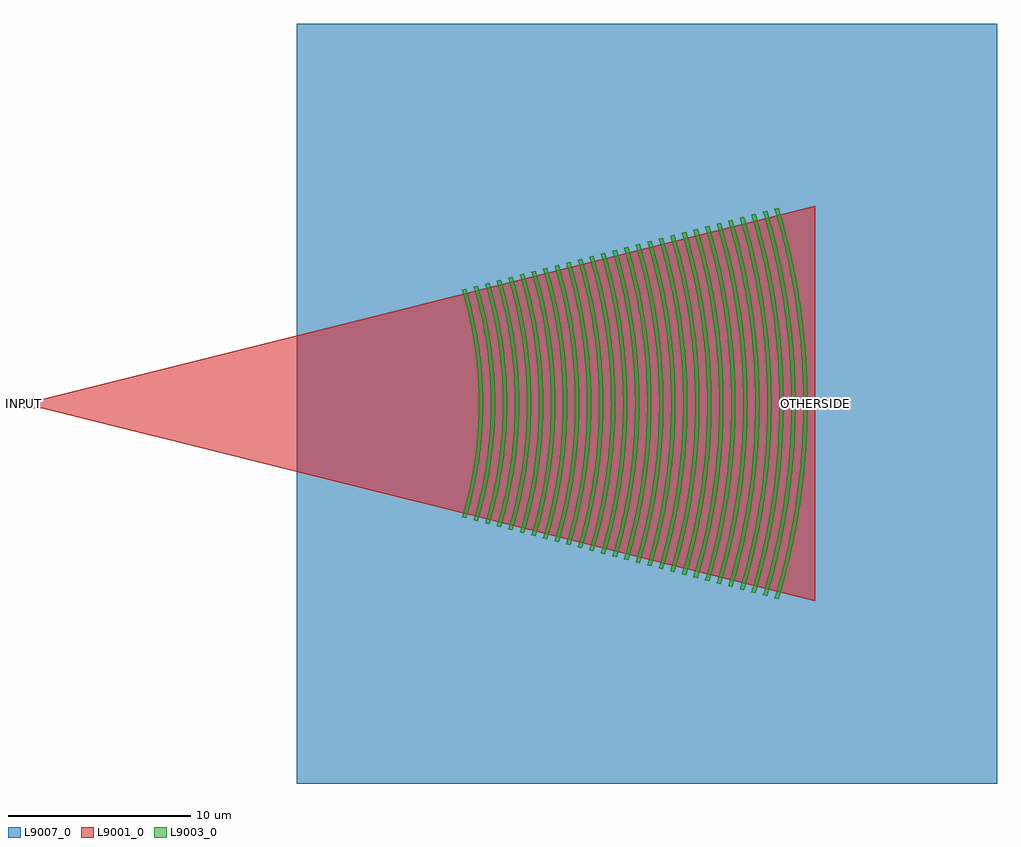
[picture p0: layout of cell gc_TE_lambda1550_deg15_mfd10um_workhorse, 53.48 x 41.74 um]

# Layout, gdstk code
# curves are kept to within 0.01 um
import gdstk
lib = gdstk.Library(unit=1e-6, precision=1e-09)
def R(c, l, rs):  # rectangles x0, y0, x1, y1
    for r in rs: c.add(gdstk.rectangle(r[:2], r[2:], *l))
def P(c, l, *ps):  # polygons
    for p in ps: c.add(gdstk.Polygon(p, *l))
L9001_0 = (9001, 0)
L9003_0 = (9003, 0)
L9007_0 = (9007, 0)

gc_te_lambda1550_deg15_m = lib.new_cell('gc_TE_lambda1550_deg15_mfd10um_workhorse')
R(gc_te_lambda1550_deg15_m, L9001_0, [(0,-0.25,24,0.25)])
P(gc_te_lambda1550_deg15_m, L9001_0, [(43.48,-10.87),(0,0),(43.48,10.87)])
P(gc_te_lambda1550_deg15_m, L9003_0, [(24.303,-6.309),(24.074,-6.25),(24.289,-5.492),(24.474,-4.735),(24.63,-3.977),(24.777,-3.093),(24.873,-2.336),(24.951,-1.452),(24.989,-0.694),(25,0.063),(25.238,0.063),(25.222,-0.829),(25.179,-1.593),(25.123,-2.231),(25.012,-3.123),(24.888,-3.888),(24.706,-4.78),(24.52,-5.545)],
  [(25,0.063),(24.989,0.694),(24.942,1.578),(24.859,2.462),(24.758,3.22),(24.63,3.977),(24.474,4.735),(24.289,5.492),(24.074,6.25),(24.303,6.309),(24.553,5.417),(24.789,4.397),(24.974,3.378),(25.095,2.486),(25.204,1.211),(25.238,0.063)],
  [(24.939,-6.474),(24.71,-6.415),(24.93,-5.637),(25.12,-4.86),(25.28,-4.082),(25.412,-3.305),(25.53,-2.398),(25.601,-1.62),(25.649,-0.713),(25.66,0.065),(25.898,0.065),(25.886,-0.719),(25.838,-1.635),(25.766,-2.42),(25.647,-3.335),(25.514,-4.12),(25.352,-4.905),(25.161,-5.69)],
  [(25.66,0.065),(25.649,0.713),(25.601,1.62),(25.53,2.398),(25.412,3.305),(25.28,4.082),(25.12,4.86),(24.93,5.637),(24.71,6.415),(24.939,6.474),(25.228,5.428),(25.464,4.382),(25.627,3.466),(25.766,2.42),(25.863,1.243),(25.898,0.065)],
  [(25.574,-6.639),(25.345,-6.58),(25.536,-5.915),(25.766,-4.985),(25.955,-4.054),(26.085,-3.257),(26.186,-2.459),(26.259,-1.662),(26.304,-0.864),(26.32,0.066),(26.558,0.066),(26.546,-0.738),(26.506,-1.542),(26.423,-2.481),(26.321,-3.286),(26.189,-4.091),(26.028,-4.896),(25.802,-5.835)],
  [(26.32,0.066),(26.304,0.864),(26.259,1.662),(26.186,2.459),(26.085,3.257),(25.955,4.054),(25.766,4.985),(25.536,5.915),(25.345,6.58),(25.574,6.639),(25.837,5.7),(26.085,4.627),(26.259,3.689),(26.408,2.616),(26.522,1.274),(26.558,0.066)],
  [(26.21,-6.804),(25.981,-6.745),(26.248,-5.791),(26.412,-5.11),(26.581,-4.292),(26.719,-3.475),(26.828,-2.657),(26.918,-1.703),(26.968,-0.749),(26.98,0.068),(27.217,0.068),(27.201,-0.894),(27.155,-1.718),(27.094,-2.406),(26.975,-3.368),(26.815,-4.33),(26.645,-5.155),(26.407,-6.117)],
  [(26.98,0.068),(26.958,1.022),(26.918,1.703),(26.828,2.657),(26.719,3.475),(26.581,4.292),(26.412,5.11),(26.248,5.791),(25.981,6.745),(26.21,6.804),(26.479,5.842),(26.705,4.88),(26.911,3.78),(27.064,2.681),(27.173,1.443),(27.201,0.894),(27.217,0.068)],
  [(26.845,-6.969),(26.617,-6.91),(26.854,-6.072),(27.058,-5.235),(27.231,-4.397),(27.373,-3.56),(27.5,-2.583),(27.576,-1.745),(27.628,-0.768),(27.64,0.07),(27.877,0.07),(27.865,-0.774),(27.823,-1.619),(27.751,-2.464),(27.629,-3.45),(27.465,-4.435),(27.291,-5.28),(27.084,-6.125)],
  [(27.64,0.07),(27.623,0.907),(27.576,1.745),(27.5,2.583),(27.373,3.56),(27.231,4.397),(27.058,5.235),(26.854,6.072),(26.617,6.91),(26.845,6.969),(27.157,5.843),(27.382,4.857),(27.564,3.872),(27.704,2.886),(27.791,2.042),(27.832,1.478),(27.865,0.774),(27.877,0.07)],
  [(27.481,-7.134),(27.252,-7.075),(27.495,-6.217),(27.736,-5.217),(27.933,-4.216),(28.068,-3.359),(28.186,-2.358),(28.245,-1.644),(28.292,-0.643),(28.3,0.071),(28.537,0.071),(28.525,-0.793),(28.472,-1.802),(28.377,-2.811),(28.262,-3.675),(28.088,-4.684),(27.937,-5.405),(27.726,-6.27)],
  [(28.3,0.071),(28.282,0.929),(28.224,1.93),(28.14,2.787),(28.026,3.645),(27.854,4.645),(27.672,5.503),(27.457,6.36),(27.252,7.075),(27.481,7.134),(27.726,6.27),(28,5.117),(28.216,3.964),(28.377,2.811),(28.491,1.513),(28.525,0.793),(28.537,0.071)],
  [(28.116,-7.299),(27.888,-7.24),(28.136,-6.362),(28.383,-5.339),(28.558,-4.461),(28.702,-3.583),(28.813,-2.706),(28.893,-1.828),(28.942,-0.951),(28.96,0.073),(29.197,0.073),(29.185,-0.811),(29.13,-1.843),(29.033,-2.876),(28.937,-3.613),(28.793,-4.498),(28.616,-5.382),(28.367,-6.415)],
  [(28.96,0.073),(28.942,0.951),(28.893,1.828),(28.813,2.706),(28.702,3.583),(28.558,4.461),(28.383,5.339),(28.136,6.362),(27.888,7.24),(28.116,7.299),(28.443,6.12),(28.678,5.087),(28.869,4.055),(29.033,2.876),(29.107,2.138),(29.159,1.401),(29.197,0.073)],
  [(28.752,-7.464),(28.523,-7.405),(28.816,-6.358),(29.03,-5.46),(29.182,-4.712),(29.356,-3.665),(29.47,-2.768),(29.562,-1.72),(29.607,-0.823),(29.62,0.075),(29.857,0.075),(29.849,-0.679),(29.799,-1.734),(29.706,-2.79),(29.591,-3.695),(29.416,-4.75),(29.229,-5.655),(29.008,-6.56)],
  [(29.62,0.075),(29.595,1.122),(29.54,2.02),(29.47,2.768),(29.356,3.665),(29.182,4.712),(29.03,5.46),(28.816,6.358),(28.523,7.405),(28.752,7.464),(29.086,6.258),(29.295,5.353),(29.546,3.996),(29.689,2.941),(29.765,2.187),(29.818,1.433),(29.857,0.075)],
  [(29.388,-7.629),(29.159,-7.57),(29.378,-6.805),(29.608,-5.888),(29.832,-4.817),(30.01,-3.747),(30.126,-2.829),(30.221,-1.759),(30.271,-0.688),(30.28,0.076),(30.517,0.076),(30.504,-0.848),(30.458,-1.772),(30.363,-2.851),(30.245,-3.776),(30.066,-4.855),(29.875,-5.78),(29.649,-6.705)],
  [(30.28,0.076),(30.261,0.994),(30.21,1.912),(30.126,2.829),(30.01,3.747),(29.832,4.817),(29.608,5.888),(29.378,6.805),(29.159,7.57),(29.388,7.629),(29.689,6.55),(29.975,5.317),(30.174,4.239),(30.327,3.16),(30.409,2.389),(30.468,1.618),(30.504,0.848),(30.517,0.076)],
  [(30.023,-7.794),(29.794,-7.735),(30.06,-6.797),(30.289,-5.86),(30.482,-4.922),(30.641,-3.985),(30.783,-2.891),(30.868,-1.953),(30.921,-1.016),(30.94,0.078),(31.177,0.078),(31.164,-0.866),(31.117,-1.811),(31.002,-3.071),(30.876,-4.015),(30.716,-4.96),(30.521,-5.905),(30.249,-7.007)],
  [(30.94,0.078),(30.921,1.016),(30.856,2.11),(30.783,2.891),(30.641,3.985),(30.482,4.922),(30.289,5.86),(30.06,6.797),(29.794,7.735),(30.023,7.794),(30.371,6.535),(30.623,5.432),(30.827,4.33),(31.002,3.071),(31.127,1.653),(31.164,0.866),(31.177,0.078)],
  [(30.659,-7.959),(30.43,-7.9),(30.701,-6.942),(30.935,-5.985),(31.162,-4.868),(31.318,-3.91),(31.44,-2.953),(31.527,-1.995),(31.586,-0.878),(31.6,0.08),(31.837,0.08),(31.818,-1.045),(31.764,-2.01),(31.658,-3.136),(31.53,-4.1),(31.336,-5.226),(31.131,-6.191),(30.932,-6.995)],
  [(31.6,0.08),(31.574,1.197),(31.527,1.995),(31.44,2.953),(31.318,3.91),(31.162,4.868),(30.935,5.985),(30.701,6.942),(30.43,7.9),(30.659,7.959),(30.974,6.834),(31.238,5.708),(31.479,4.422),(31.639,3.296),(31.724,2.492),(31.786,1.688),(31.818,1.045),(31.837,0.08)],
  [(31.294,-8.124),(31.065,-8.065),(31.299,-7.25),(31.581,-6.11),(31.813,-4.969),(31.972,-3.992),(32.096,-3.014),(32.197,-1.874),(32.246,-0.896),(32.26,0.081),(32.497,0.081),(32.483,-0.903),(32.434,-1.887),(32.333,-3.036),(32.208,-4.021),(32.047,-5.006),(31.85,-5.991),(31.573,-7.14)],
  [(32.26,0.081),(32.24,1.059),(32.173,2.2),(32.078,3.177),(31.948,4.155),(31.813,4.969),(31.581,6.11),(31.299,7.25),(31.065,8.065),(31.294,8.124),(31.616,6.975),(31.92,5.662),(32.132,4.514),(32.295,3.365),(32.382,2.544),(32.445,1.723),(32.483,0.903),(32.497,0.081)],
  [(31.93,-8.289),(31.701,-8.23),(32.027,-7.066),(32.227,-6.235),(32.433,-5.237),(32.602,-4.24),(32.753,-3.076),(32.844,-2.078),(32.905,-0.914),(32.92,0.083),(33.157,0.083),(33.143,-0.921),(33.093,-1.926),(33.007,-2.931),(32.862,-4.103),(32.698,-5.108),(32.497,-6.112),(32.258,-7.117)],
  [(32.92,0.083),(32.893,1.247),(32.844,2.078),(32.753,3.076),(32.602,4.24),(32.433,5.237),(32.227,6.235),(32.027,7.066),(31.701,8.23),(31.93,8.289),(32.258,7.117),(32.533,5.945),(32.784,4.605),(32.951,3.433),(33.04,2.596),(33.093,1.926),(33.143,0.921),(33.157,0.083)],
  [(32.565,-8.454),(32.337,-8.395),(32.669,-7.208),(32.911,-6.19),(33.114,-5.173),(33.28,-4.155),(33.409,-3.138),(33.502,-2.12),(33.565,-0.933),(33.58,0.085),(33.817,0.085),(33.796,-1.11),(33.739,-2.135),(33.646,-3.16),(33.516,-4.185),(33.349,-5.209),(33.106,-6.405),(32.855,-7.43)],
  [(33.58,0.085),(33.552,1.272),(33.489,2.29),(33.39,3.307),(33.255,4.325),(33.083,5.342),(32.873,6.36),(32.625,7.377),(32.337,8.395),(32.565,8.454),(32.9,7.259),(33.216,5.892),(33.437,4.697),(33.607,3.501),(33.697,2.647),(33.762,1.793),(33.802,0.939),(33.817,0.085)],
  [(33.201,-8.619),(32.972,-8.56),(33.22,-7.695),(33.48,-6.658),(33.7,-5.62),(33.909,-4.41),(34.047,-3.372),(34.161,-2.162),(34.219,-1.124),(34.24,0.086),(34.477,0.086),(34.456,-1.132),(34.398,-2.177),(34.303,-3.221),(34.17,-4.266),(33.967,-5.485),(33.752,-6.53),(33.497,-7.575)],
  [(34.24,0.086),(34.219,1.124),(34.148,2.335),(34.047,3.372),(33.909,4.41),(33.7,5.62),(33.48,6.658),(33.22,7.695),(32.972,8.56),(33.201,8.619),(33.497,7.575),(33.828,6.182),(34.06,4.963),(34.241,3.744),(34.355,2.699),(34.41,2.002),(34.456,1.132),(34.477,0.086)],
  [(33.837,-8.784),(33.608,-8.725),(33.907,-7.667),(34.165,-6.61),(34.416,-5.376),(34.589,-4.318),(34.723,-3.261),(34.832,-2.027),(34.89,-0.793),(34.9,0.088),(35.137,0.088),(35.122,-0.976),(35.069,-2.041),(34.978,-3.106),(34.824,-4.348),(34.65,-5.413),(34.398,-6.655),(34.138,-7.72)],
  [(34.9,0.088),(34.878,1.146),(34.832,2.027),(34.723,3.261),(34.589,4.318),(34.416,5.376),(34.165,6.61),(33.907,7.667),(33.608,8.725),(33.837,8.784),(34.229,7.365),(34.513,6.122),(34.742,4.88),(34.918,3.638),(35.028,2.573),(35.091,1.686),(35.122,0.976),(35.137,0.088)],
  [(34.472,-8.949),(34.243,-8.89),(34.548,-7.812),(34.811,-6.735),(35.034,-5.657),(35.243,-4.4),(35.379,-3.323),(35.478,-2.245),(35.538,-1.167),(35.56,0.09),(35.797,0.09),(35.782,-0.994),(35.715,-2.26),(35.616,-3.345),(35.478,-4.43),(35.268,-5.695),(35.044,-6.78),(34.779,-7.865)],
  [(35.56,0.09),(35.538,1.167),(35.478,2.245),(35.379,3.323),(35.243,4.4),(35.034,5.657),(34.811,6.735),(34.548,7.812),(34.243,8.89),(34.472,8.949),(34.826,7.684),(35.123,6.418),(35.395,4.972),(35.552,3.887),(35.653,2.983),(35.739,1.898),(35.782,0.994),(35.797,0.09)],
  [(35.108,-9.114),(34.879,-9.055),(35.141,-8.14),(35.373,-7.226),(35.576,-6.311),(35.782,-5.213),(35.948,-4.116),(36.107,-2.652),(36.19,-1.372),(36.22,0.091),(36.457,0.091),(36.435,-1.197),(36.373,-2.302),(36.252,-3.591),(36.132,-4.511),(35.952,-5.616),(35.731,-6.721),(35.42,-8.01)],
  [(36.22,0.091),(36.19,1.372),(36.122,2.47),(36.016,3.567),(35.87,4.665),(35.684,5.762),(35.416,7.043),(35.141,8.14),(34.879,9.055),(35.108,9.114),(35.468,7.825),(35.771,6.537),(36.047,5.064),(36.23,3.775),(36.328,2.854),(36.398,1.933),(36.447,0.829),(36.457,0.091)],
  [(35.743,-9.279),(35.514,-9.22),(35.781,-8.289),(36.017,-7.357),(36.224,-6.426),(36.402,-5.495),(36.603,-4.191),(36.765,-2.701),(36.857,-1.211),(36.88,0.093),(37.117,0.093),(37.101,-1.031),(37.032,-2.343),(36.908,-3.656),(36.759,-4.78),(36.568,-5.905),(36.336,-7.03),(36.061,-8.155)],
  [(36.88,0.093),(36.857,1.211),(36.795,2.328),(36.693,3.446),(36.551,4.563),(36.402,5.495),(36.145,6.799),(35.831,8.102),(35.514,9.22),(35.743,9.279),(36.11,7.967),(36.418,6.655),(36.669,5.343),(36.863,4.03),(36.968,3.093),(37.045,2.156),(37.101,1.031),(37.117,0.094)],
  [(36.379,-9.444),(36.15,-9.385),(36.37,-8.627),(36.662,-7.489),(36.911,-6.351),(37.086,-5.403),(37.306,-3.887),(37.439,-2.56),(37.517,-1.232),(37.54,0.095),(37.777,0.095),(37.761,-1.049),(37.704,-2.194),(37.606,-3.339),(37.468,-4.484),(37.254,-5.819),(37.025,-6.964),(36.703,-8.3)],
  [(37.54,0.095),(37.517,1.232),(37.479,1.991),(37.406,2.939),(37.306,3.887),(37.086,5.403),(36.833,6.731),(36.521,8.058),(36.15,9.385),(36.379,9.444),(36.703,8.3),(37.066,6.773),(37.321,5.438),(37.542,3.911),(37.643,2.957),(37.716,2.003),(37.761,1.049),(37.777,0.095)],
  [(37.014,-9.609),(36.786,-9.55),(37.212,-8.007),(37.521,-6.656),(37.77,-5.306),(37.962,-3.955),(38.064,-2.99),(38.138,-2.026),(38.189,-0.868),(38.2,0.096),(38.437,0.096),(38.414,-1.262),(38.349,-2.427),(38.221,-3.786),(38.095,-4.756),(37.869,-6.115),(37.628,-7.28),(37.344,-8.445)],
  [(38.2,0.096),(38.183,1.061),(38.138,2.026),(38.046,3.183),(37.938,4.148),(37.738,5.498),(37.48,6.849),(37.163,8.199),(36.786,9.55),(37.014,9.609),(37.344,8.445),(37.713,6.892),(37.973,5.533),(38.174,4.174),(38.263,3.397),(38.349,2.427),(38.414,1.262),(38.436,0.291),(38.437,0.096)],
  [(37.65,-9.774),(37.421,-9.715),(37.702,-8.734),(37.951,-7.752),(38.209,-6.575),(38.39,-5.593),(38.593,-4.22),(38.739,-2.846),(38.828,-1.472),(38.86,0.098),(39.097,0.098),(39.08,-1.086),(39.021,-2.271),(38.92,-3.456),(38.749,-4.838),(38.519,-6.22),(38.274,-7.405),(37.985,-8.59)],
  [(38.86,0.098),(38.843,1.079),(38.797,2.061),(38.722,3.042),(38.618,4.023),(38.39,5.593),(38.128,6.967),(37.805,8.341),(37.421,9.715),(37.65,9.774),(38.037,8.392),(38.361,7.01),(38.625,5.628),(38.854,4.048),(38.958,3.061),(39.034,2.073),(39.08,1.086),(39.097,0.099)],
  [(38.285,-9.939),(38.057,-9.88),(38.396,-8.682),(38.596,-7.884),(38.775,-7.086),(39.042,-5.688),(39.249,-4.291),(39.36,-3.293),(39.443,-2.295),(39.502,-1.098),(39.52,0.1),(39.757,0.1),(39.733,-1.305),(39.666,-2.51),(39.556,-3.715),(39.403,-4.92),(39.206,-6.124),(38.965,-7.329),(38.679,-8.534)],
  [(39.52,0.1),(39.502,1.098),(39.443,2.295),(39.36,3.293),(39.249,4.291),(39.042,5.688),(38.775,7.086),(38.596,7.884),(38.396,8.682),(38.057,9.88),(38.285,9.939),(38.679,8.534),(39.008,7.128),(39.277,5.723),(39.485,4.317),(39.597,3.313),(39.68,2.309),(39.733,1.305),(39.756,0.301),(39.757,0.1)],
  [(38.921,-10.104),(38.692,-10.045),(38.983,-9.03),(39.288,-7.813),(39.507,-6.798),(39.694,-5.783),(39.904,-4.363),(40.072,-2.74),(40.155,-1.319),(40.18,0.101),(40.417,0.101),(40.4,-1.123),(40.324,-2.552),(40.19,-3.981),(40.057,-5.001),(39.857,-6.226),(39.567,-7.655),(39.268,-8.88)],
  [(40.18,0.101),(40.155,1.319),(40.101,2.334),(40.018,3.348),(39.904,4.363),(39.694,5.783),(39.423,7.204),(39.09,8.624),(38.692,10.045),(38.921,10.104),(39.321,8.675),(39.656,7.247),(39.929,5.818),(40.14,4.389),(40.274,3.164),(40.352,2.143),(40.4,1.123),(40.416,0.306),(40.417,0.101)],
  [(39.557,-10.269),(39.328,-10.21),(39.623,-9.179),(39.885,-8.147),(40.114,-7.116),(40.346,-5.878),(40.56,-4.435),(40.713,-2.991),(40.806,-1.547),(40.84,0.103),(41.077,0.103),(41.052,-1.349),(40.983,-2.593),(40.869,-3.838),(40.711,-5.083),(40.47,-6.535),(40.213,-7.78),(39.909,-9.025)],
  [(40.84,0.103),(40.822,1.134),(40.76,2.372),(40.695,3.197),(40.56,4.435),(40.346,5.878),(40.026,7.529),(39.732,8.766),(39.328,10.21),(39.557,10.269),(39.909,9.025),(40.259,7.572),(40.581,5.913),(40.796,4.46),(40.912,3.423),(40.983,2.593),(41.034,1.763),(41.074,0.519),(41.077,0.103)],
  [(40.192,-10.434),(39.963,-10.375),(40.263,-9.327),(40.529,-8.279),(40.762,-7.231),(40.998,-5.973),(41.215,-4.506),(41.371,-3.039),(41.474,-1.362),(41.5,0.105),(41.737,0.105),(41.719,-1.159),(41.656,-2.424),(41.526,-3.9),(41.365,-5.165),(41.159,-6.429),(40.906,-7.694),(40.605,-8.959)],
  [(41.5,0.105),(41.474,1.362),(41.419,2.41),(41.332,3.458),(41.215,4.506),(40.998,5.973),(40.718,7.441),(40.374,8.908),(39.963,10.375),(40.192,10.434),(40.605,8.959),(40.906,7.694),(41.08,6.851),(41.233,6.008),(41.451,4.532),(41.569,3.478),(41.656,2.424),(41.712,1.37),(41.734,0.527),(41.737,0.105)],
  [(40.828,-10.599),(40.599,-10.54),(40.904,-9.475),(41.174,-8.411),(41.41,-7.346),(41.65,-6.068),(41.871,-4.578),(42.029,-3.087),(42.134,-1.384),(42.16,0.106),(42.397,0.106),(42.379,-1.178),(42.315,-2.462),(42.182,-3.961),(41.988,-5.46),(41.77,-6.745),(41.505,-8.03),(41.191,-9.315)],
  [(42.16,0.106),(42.141,1.171),(42.091,2.236),(41.99,3.513),(41.871,4.578),(41.65,6.068),(41.32,7.772),(41.016,9.049),(40.599,10.54),(40.828,10.599),(41.247,9.1),(41.599,7.602),(41.885,6.103),(42.107,4.604),(42.247,3.319),(42.315,2.462),(42.371,1.392),(42.394,0.535),(42.397,0.106)],
  [(41.463,-10.764),(41.234,-10.705),(41.602,-9.407),(41.869,-8.326),(42.102,-7.245),(42.302,-6.163),(42.526,-4.65),(42.687,-3.136),(42.793,-1.406),(42.82,0.108),(43.057,0.108),(43.031,-1.414),(42.958,-2.718),(42.839,-4.023),(42.673,-5.328),(42.42,-6.85),(42.151,-8.155),(41.832,-9.46)],
  [(42.82,0.108),(42.801,1.189),(42.75,2.271),(42.668,3.352),(42.526,4.65),(42.302,6.163),(42.013,7.677),(41.658,9.191),(41.234,10.705),(41.463,10.764),(41.889,9.242),(42.246,7.72),(42.537,6.198),(42.762,4.675),(42.884,3.588),(42.958,2.718),(43.022,1.631),(43.054,0.544),(43.057,0.108)])
R(gc_te_lambda1550_deg15_m, L9007_0, [(15,-20.87,53.48,20.87)])
gc_te_lambda1550_deg15_m.add(gdstk.Label('INPUT', (0,0), layer=9015, texttype=9001))
gc_te_lambda1550_deg15_m.add(gdstk.Label('OTHERSIDE', (43.48,0), layer=9015, texttype=9001))
gc_te_lambda1550_deg15_m.add(gdstk.Label('GRATING_EDGE', (43.48,0), layer=9015, texttype=9001))
gc_te_lambda1550_deg15_m.add(gdstk.Label('sub!', (0,0), layer=61, texttype=31))

lib.write_gds('gc_TE_lambda1550_deg15_mfd10um_workhorse.gds')
